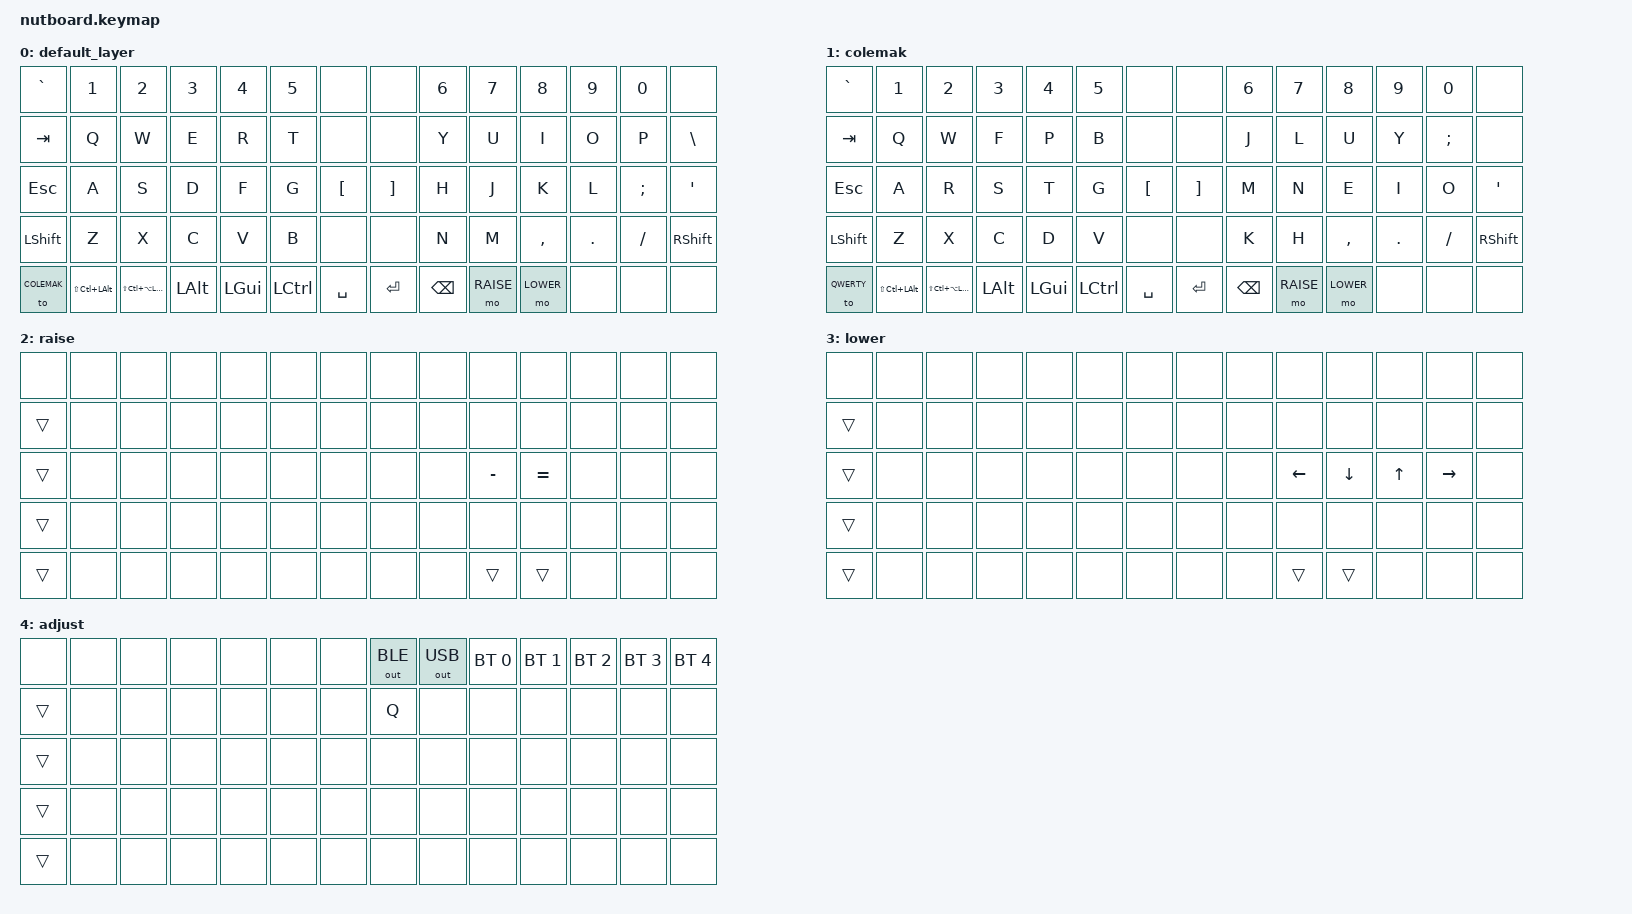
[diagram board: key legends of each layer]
/*
 * Copyright (c) 2020 The ZMK Contributors
 *
 * SPDX-License-Identifier: MIT
 */

#include <behaviors.dtsi>
#include <dt-bindings/zmk/keys.h>
#include <dt-bindings/zmk/bt.h>
#include <dt-bindings/zmk/outputs.h>

#define QWERTY 0
#define COLEMAK 1
#define RAISE  2
#define LOWER  3
#define ADJUST 4
#define MEH LS(LC(LALT))
#define HYP LS(LC(LA(LGUI)))
#define HYPER(key) LS(LC(LA(LG(key))))

/ {
  conditional_layers {
    compatible = "zmk,conditional-layers";
    tri_layer {
      if-layers = <2 3>;
      then-layer = <4>;
    };
  };
};

/ {
  keymap {
    compatible = "zmk,keymap";

    default_layer {
      // Ref: https://zmkfirmware.dev/docs/codes/
      // -------------------------------------------------------------------------------------------------------------------
      // |   ~   |   1   |   2   |   3   |   4   |   5   |       | |       |   6   |   7   |   8   |   9   |   0   | NONE  |
      // |  TAB  |   Q   |   W   |   E   |   R   |   T   |       | |       |   Y   |   U   |   I   |   O   |   P   | \     |
      // |  ESC  |   A   |   S   |   D   |   F   |   G   |   [   | |   ]   |   H   |   J   |   K   |   L   |   ;   |   '   |
      // | SHIFT |   Z   |   X   |   C   |   V   |   B   |       | |       |   N   |   M   |   ,   |   .   |   /   | RSHFT |
      // | CLMAK |       |       | ALT  |  CMD  |  CTRL  | SPACE | | ENTER | BSPC  | RAISE | LOWER |       |       |       |
      // -------------------------------------------------------------------------------------------------------------------

      bindings = <
        &kp GRAVE   &kp N1 &kp N2 &kp N3    &kp N4   &kp N5   &none     &none    &kp N6   &kp N7     &kp N8    &kp N9  &kp N0   &none     
        &kp TAB     &kp Q  &kp W  &kp E     &kp R    &kp T    &none     &none    &kp Y    &kp U      &kp I     &kp O   &kp P    &kp BSLH  
        &kp ESC     &kp A  &kp S  &kp D     &kp F    &kp G    &kp LBKT  &kp RBKT &kp H    &kp J      &kp K     &kp L   &kp SEMI &kp APOS  
        &kp LSHFT   &kp Z  &kp X  &kp C     &kp V    &kp B    &none     &none    &kp N    &kp M      &kp COMMA &kp DOT &kp FSLH &kp RSHFT 
        &to COLEMAK &kp MEH &kp HYP &kp LALT &kp LGUI &kp LCTRL &kp SPACE &kp RET  &kp BSPC &mo RAISE  &mo LOWER &none   &none    &none     
        >;
    };

    colemak {
      // Ref: https://zmkfirmware.dev/docs/codes/
      // -------------------------------------------------------------------------------------------------------------------
      // |   ~   |   1   |   2   |   3   |   4   |   5   |       | |       |   6   |   7   |   8   |   9   |   0   | NONE  |
      // |  TAB  |   Q   |   W   |   F   |   P   |   B   |       | |       |   J   |   L   |   U   |   Y   |   ;   | NONE  |
      // |  ESC  |   A   |   R   |   S   |   T   |   G   |   [   | |   ]   |   M   |   N   |   E   |   I   |   O   |   '   |
      // | SHIFT |   Z   |   X   |   C   |   D   |   V   |       | |       |   K   |   H   |   ,   |   .   |   /   | RSHFT |
      // | QWRTY |       |       | CTRL  |  CMD  |  ALT  | SPACE | | ENTER | BSPC  | RAISE | LOWER |       |       |       |
      // -------------------------------------------------------------------------------------------------------------------

      bindings = <
        &kp GRAVE  &kp N1 &kp N2 &kp N3    &kp N4   &kp N5   &none     &none    &kp N6   &kp N7    &kp N8    &kp N9  &kp N0   &none     
        &kp TAB    &kp Q  &kp W  &kp F     &kp P    &kp B    &none     &none    &kp J    &kp L     &kp U     &kp Y   &kp SEMI &none     
        &kp ESC    &kp A  &kp R  &kp S     &kp T    &kp G    &kp LBKT  &kp RBKT &kp M    &kp N     &kp E     &kp I   &kp O    &kp APOS  
        &kp LSHFT  &kp Z  &kp X  &kp C     &kp D    &kp V    &none     &none    &kp K    &kp H     &kp COMMA &kp DOT &kp FSLH &kp RSHFT 
        &to QWERTY &kp MEH &kp HYP &kp LALT &kp LGUI &kp LCTRL &kp SPACE &kp RET &kp BSPC &mo RAISE &mo LOWER &none  &none    &none     
        >;
    };

    raise {
      // -------------------------------------------------------------------------------------------------------------------
      // |       |       |       |       |       |       |       | |       |       |       |       |       |       |       |
      // |       |       |       |       |       |       |       | |       |       |       |       |       |       |       |
      // |       |       |       |       |       |       |       | |       |       |   -   |   +   |       |       |       |
      // |       |       |       |       |       |       |       | |       |       |       |       |       |       |       |
      // |       |       |       |       |       |       |       | |       |       |       |       |       |       |       |
      // -------------------------------------------------------------------------------------------------------------------

      bindings = <
        &none      &none      &none      &none      &none      &none      &none      &none      &none      &none      &none      &none      &none      &none
        &trans     &none      &none      &none      &none      &none      &none      &none      &none      &none      &none      &none      &none      &none
        &trans     &none      &none      &none      &none      &none      &none      &none      &none      &kp MINUS  &kp EQUAL  &none      &none      &none
        &trans     &none      &none      &none      &none      &none      &none      &none      &none      &none      &none      &none      &none      &none
        &trans     &none      &none      &none      &none      &none      &none      &none      &none      &trans     &trans     &none      &none      &none
        >;
    };

    lower {
      // -------------------------------------------------------------------------------------------------------------------
      // |       |       |       |       |       |       |       | |       |       |       |       |       |       |       |
      // |       |       |       |       |       |       |       | |       |       |       |       |       |       |       |
      // |       |       |       |       |       |       |       | |       |       | LEFT  | RIGHT |  UP   | DOWN  |       |
      // |       |       |       |       |       |       |       | |       |       |       |       |       |       |       |
      // |       |       |       |       |       |       |       | |       |       |       |       |       |       |       |
      // -------------------------------------------------------------------------------------------------------------------
      bindings = <
        &none      &none      &none      &none      &none      &none      &none      &none      &none      &none      &none      &none      &none      &none
        &trans     &none      &none      &none      &none      &none      &none      &none      &none      &none      &none      &none      &none      &none
        &trans     &none      &none      &none      &none      &none      &none      &none      &none      &kp LEFT   &kp DOWN   &kp UP     &kp RIGHT  &none
        &trans     &none      &none      &none      &none      &none      &none      &none      &none      &none      &none      &none      &none      &none
        &trans     &none      &none      &none      &none      &none      &none      &none      &none      &trans     &trans     &none      &none      &none
        >;
    };

    adjust {
      // -------------------------------------------------------------------------------------------------------------------
      // |       |       |       |       |       |       |       | |  BLE  |  USB  | BL 0  | BL 1  | BL 2  | BL3   | BL 4  |
      // |       |       |       |       |       |       |       | |   Q   |       |       |       |       |       |       |
      // |       |       |       |       |       |       |       | |       |       |       |       |       |       |       |
      // |       |       |       |       |       |       |       | |       |       |       |       |       |       |       |
      // |       |       |       |       |       |       |       | |       |       |       |       |       |       |       |
      // -------------------------------------------------------------------------------------------------------------------
      bindings = <
        &none      &none      &none      &none      &none      &none      &none      &out OUT_BLE &out OUT_USB &bt BT_SEL 0 &bt BT_SEL 1 &bt BT_SEL 2 &bt BT_SEL 3 &bt BT_SEL 4
        &trans     &none      &none      &none      &none      &none      &none      &kp Q        &none        &none        &none        &none        &none        &none
        &trans     &none      &none      &none      &none      &none      &none      &none        &none        &none        &none        &none        &none        &none
        &trans     &none      &none      &none      &none      &none      &none      &none        &none        &none        &none        &none        &none        &none
        &trans     &none      &none      &none      &none      &none      &none      &none        &none        &none        &none        &none        &none        &none
        >;
    };

  };
};

